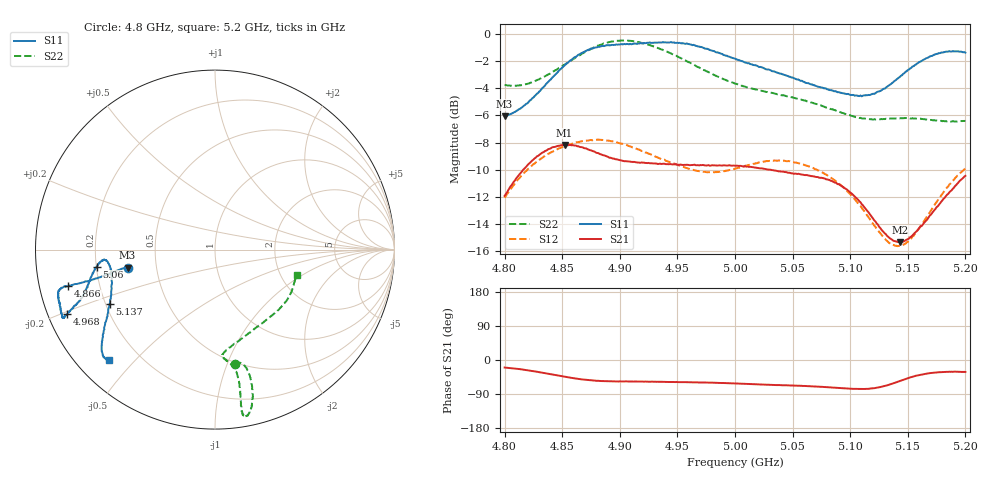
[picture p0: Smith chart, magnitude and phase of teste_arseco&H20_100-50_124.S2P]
! Network Analyzer HP8722D
! Hewlett-Packard
! Data name: Linha & Wilkinson
! Saver's name: Rodrigo Anjos
! Comments: Teste da utilização de aquisição
! continua pelo VNA HP8722D
! Time and date: 6/5/2025 13:36
!  Frequency  S11  S21  S12  S22
# HZ  S  MA R 50
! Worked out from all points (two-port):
!   401 points, 4.8 GHz to 5.2 GHz, reference 50 ohm
!   highest |S21| = -8.17 dB at 4.852 GHz (marker M1); lowest = -15.3 dB at 5.143 GHz (marker M2)
!   |S21| within 3 dB of the highest: 4.806 GHz to 5.092 GHz (286.5 MHz wide, 5.79 % of centre); 5.191354 GHz to end of sweep
!   lowest |S11| = -6.1 dB at 4.8 GHz (marker M3), VSWR 2.98, Z = 16.9 - j4.53 ohm
!   |S11| at or under -10 dB: nowhere
!   |S22| runs from -6.5 to -0.5 dB; largest |S21 - S12| = 0.62
!   S11 on the Smith chart (normalised r, x): 4.8 GHz: 0.34, -0.09; 4.866 GHz: 0.09, -0.12; 4.968 GHz: 0.06, -0.21; 5.06 GHz: 0.20, -0.07; 5.137 GHz: 0.22, -0.23; 5.2 GHz: 0.09, -0.42
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4.8e9  0.4975 -168.3  0.2536 -19.9  0.25 -141.1  0.6474 -80.3
4.826e9  0.5893 -167.4  0.3482 -29.9  0.3334 -144.8  0.6685 -75.7
4.852e9  0.7646 -166.0  0.3905 -44.2  0.3858 -149.7  0.7694 -74.7
4.866e9  0.8454 -166.0  0.3833 -50.6  0.4018 -152.1  0.8373 -75.4
4.867e9  0.8499 -166.1  0.383 -51.2  0.4026 -152.3  0.8434 -75.5
4.898e9  0.9113 -163.1  0.3448 -56.4  0.3977 -156.7  0.9421 -78.9
4.915e9  0.9181 -159.6  0.3367 -56.9  0.377 -157.3  0.9329 -80.3
4.934e9  0.9285 -156.7  0.3327 -57.7  0.3495 -155.9  0.8819 -80.6
4.968e9  0.8979 -156.4  0.3289 -59.3  0.3134 -147.7  0.7541 -79.7
5e9  0.8096 -159.2  0.3274 -61.9  0.3195 -137.4  0.655 -81.3
5.036e9  0.7212 -165.8  0.3136 -66.2  0.3415 -134.5  0.6008 -85.7
5.06e9  0.6655 -171.9  0.3027 -68.5  0.33 -136.3  0.5686 -84.1
5.067e9  0.6512 -173.2  0.3 -69.4  0.3229 -137.0  0.5576 -82.6
5.084e9  0.6193 -174.8  0.2881 -72.6  0.2946 -138.5  0.5276 -76.3
5.101e9  0.5955 -172.1  0.2594 -76.0  0.2545 -138.9  0.4992 -66.5
5.116e9  0.5957 -165.5  0.2204 -76.1  0.2117 -135.5  0.4856 -55.6
5.134e9  0.6475 -154.4  0.1777 -64.9  0.1702 -120.5  0.488 -43.3
5.137e9  0.6615 -152.6  0.1741 -62.0  0.1678 -116.7  0.488 -41.5
5.143e9  0.6931 -149.3  0.1716 -55.5  0.166 -108.7  0.4885 -38.0
5.154e9  0.758 -144.7  0.1814 -44.3  0.1798 -94.9  0.4888 -32.3
5.174e9  0.8401 -138.8  0.2272 -33.0  0.2377 -80.5  0.4796 -23.9
5.2e9  0.8516 -133.8  0.3006 -31.5  0.3197 -77.2  0.4779 -17.6
